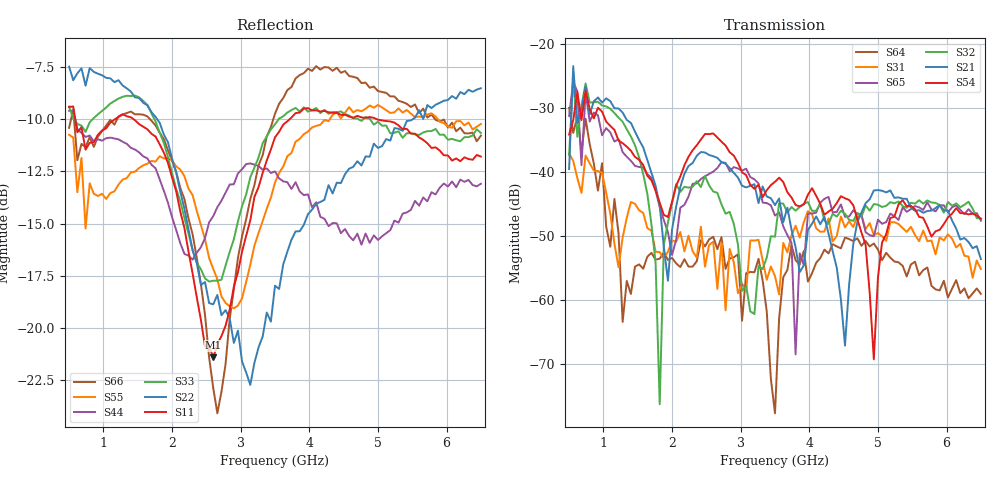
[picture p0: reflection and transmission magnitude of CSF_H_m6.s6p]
!Keysight Technologies,M9804A,MY58100912,A.14.10.03
!Date: Thursday, April 27, 2023 10:28:33
!Correction: S11(C  6-Port  )
!S12(C  6-Port  )
!S13(C  6-Port  )
!S14(C  6-Port  )
!S15(C  6-Port  )
!S16(C  6-Port  )
!S21(C  6-Port  )
!S22(C  6-Port  )
!S23(C  6-Port  )
!S24(C  6-Port  )
!S25(C  6-Port  )
!S26(C  6-Port  )
!S31(C  6-Port  )
!S32(C  6-Port  )
!S33(C  6-Port  )
!S34(C  6-Port  )
!S35(C  6-Port  )
!S36(C  6-Port  )
!S41(C  6-Port  )
!S42(C  6-Port  )
!S43(C  6-Port  )
!S44(C  6-Port  )
!S45(C  6-Port  )
!S46(C  6-Port  )
!S51(C  6-Port  )
!S52(C  6-Port  )
!S53(C  6-Port  )
!S54(C  6-Port  )
!S55(C  6-Port  )
!S56(C  6-Port  )
!S61(C  6-Port  )
!S62(C  6-Port  )
!S63(C  6-Port  )
!S64(C  6-Port  )
!S65(C  6-Port  )
!S66(C  6-Port  )
!S6P File: Measurement: :
# Hz S  RI  R 50
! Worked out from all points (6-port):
!   101 points, 500 MHz to 6.5 GHz, reference 50 ohm
!   strongest paths, dB at 500 MHz, 2 GHz, 3.5 GHz, 5 GHz, 6.5 GHz:
!     S54: -34.2, -44.7, -41.6, -56.5, -47.4
!     S21: -39.6, -49.0, -45.2, -42.9, -53.6
!     S32: -37.4, -44.9, -50.1, -45.1, -47.3
!     S65: -31.2, -53.0, -46.9, -47.5, -47.7
!     S31: -37.1, -50.7, -56.3, -49.6, -55.2
!     S64: -30.0, -53.5, -77.8, -52.2, -59.1
!   lowest |S11| = -21.4 dB at 2.6 GHz (marker M1), VSWR 1.19, Z = 42.4 + j2.21 ohm
!   |S11| at or under -10 dB: 589.6 MHz to 1.169 GHz (579.4 MHz wide, 65.9 % of centre); 1.439 GHz to 3.714 GHz (2.275 GHz wide, 88.3 % of centre); 4.983 GHz to end of sweep
